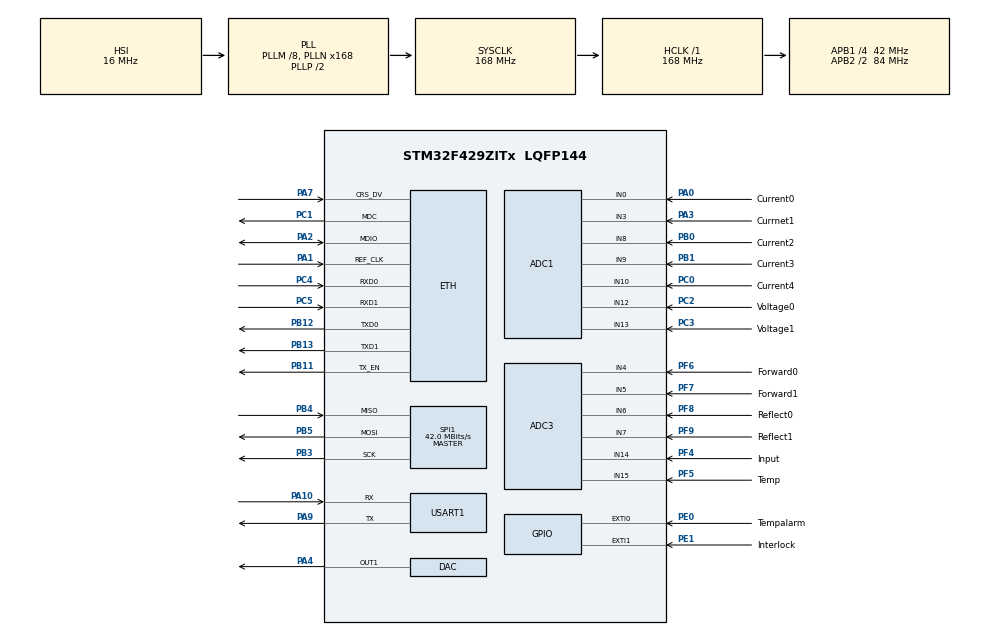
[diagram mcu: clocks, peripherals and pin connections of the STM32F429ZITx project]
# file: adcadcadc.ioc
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ADC1.Channel-0\#ChannelRegularConversion=ADC_CHANNEL_0
ADC1.Channel-1\#ChannelRegularConversion=ADC_CHANNEL_3
ADC1.Channel-2\#ChannelRegularConversion=ADC_CHANNEL_8
ADC1.Channel-3\#ChannelRegularConversion=ADC_CHANNEL_9
ADC1.Channel-4\#ChannelRegularConversion=ADC_CHANNEL_10
ADC1.Channel-5\#ChannelRegularConversion=ADC_CHANNEL_12
ADC1.Channel-9\#ChannelRegularConversion=ADC_CHANNEL_0
ADC1.ContinuousConvMode=ENABLE
ADC1.DMAContinuousRequests=ENABLE
ADC1.NbrOfConversion=7
ADC1.NbrOfConversionFlag=1
ADC1.Rank-0\#ChannelRegularConversion=1
ADC1.Rank-1\#ChannelRegularConversion=2
ADC1.Rank-2\#ChannelRegularConversion=3
ADC1.Rank-3\#ChannelRegularConversion=4
ADC1.Rank-4\#ChannelRegularConversion=5
ADC1.Rank-5\#ChannelRegularConversion=6
ADC1.Rank-9\#ChannelRegularConversion=7
ADC1.SamplingTime-0\#ChannelRegularConversion=ADC_SAMPLETIME_3CYCLES
ADC1.SamplingTime-1\#ChannelRegularConversion=ADC_SAMPLETIME_15CYCLES
ADC1.SamplingTime-2\#ChannelRegularConversion=ADC_SAMPLETIME_3CYCLES
ADC1.SamplingTime-3\#ChannelRegularConversion=ADC_SAMPLETIME_3CYCLES
ADC1.SamplingTime-4\#ChannelRegularConversion=ADC_SAMPLETIME_3CYCLES
ADC1.SamplingTime-5\#ChannelRegularConversion=ADC_SAMPLETIME_3CYCLES
ADC1.SamplingTime-9\#ChannelRegularConversion=ADC_SAMPLETIME_3CYCLES
ADC1.ScanConvMode=ENABLE
ADC1.master=1
ADC3.Channel-0\#ChannelRegularConversion=ADC_CHANNEL_4
ADC3.Channel-1\#ChannelRegularConversion=ADC_CHANNEL_5
ADC3.Channel-2\#ChannelRegularConversion=ADC_CHANNEL_6
ADC3.Channel-3\#ChannelRegularConversion=ADC_CHANNEL_7
ADC3.Channel-4\#ChannelRegularConversion=ADC_CHANNEL_14
ADC3.Channel-6\#ChannelRegularConversion=ADC_CHANNEL_15
ADC3.ContinuousConvMode=ENABLE
ADC3.DMAContinuousRequests=ENABLE
ADC3.NbrOfConversion=6
ADC3.NbrOfConversionFlag=1
ADC3.Rank-0\#ChannelRegularConversion=1
ADC3.Rank-1\#ChannelRegularConversion=2
ADC3.Rank-2\#ChannelRegularConversion=3
ADC3.Rank-3\#ChannelRegularConversion=4
ADC3.Rank-4\#ChannelRegularConversion=5
ADC3.Rank-6\#ChannelRegularConversion=6
ADC3.SamplingTime-0\#ChannelRegularConversion=ADC_SAMPLETIME_15CYCLES
ADC3.SamplingTime-1\#ChannelRegularConversion=ADC_SAMPLETIME_3CYCLES
ADC3.SamplingTime-2\#ChannelRegularConversion=ADC_SAMPLETIME_3CYCLES
ADC3.SamplingTime-3\#ChannelRegularConversion=ADC_SAMPLETIME_3CYCLES
ADC3.SamplingTime-4\#ChannelRegularConversion=ADC_SAMPLETIME_3CYCLES
ADC3.SamplingTime-6\#ChannelRegularConversion=ADC_SAMPLETIME_3CYCLES
ADC3.ScanConvMode=ENABLE
Dma.ADC1.1.Direction=DMA_PERIPH_TO_MEMORY
Dma.ADC1.1.FIFOMode=DMA_FIFOMODE_DISABLE
Dma.ADC1.1.Instance=DMA2_Stream4
Dma.ADC1.1.MemDataAlignment=DMA_MDATAALIGN_HALFWORD
Dma.ADC1.1.MemInc=DMA_MINC_ENABLE
Dma.ADC1.1.Mode=DMA_CIRCULAR
Dma.ADC1.1.PeriphDataAlignment=DMA_PDATAALIGN_HALFWORD
Dma.ADC1.1.PeriphInc=DMA_PINC_DISABLE
Dma.ADC1.1.Priority=DMA_PRIORITY_LOW
Dma.ADC3.0.Direction=DMA_PERIPH_TO_MEMORY
Dma.ADC3.0.FIFOMode=DMA_FIFOMODE_DISABLE
Dma.ADC3.0.Instance=DMA2_Stream0
Dma.ADC3.0.MemDataAlignment=DMA_MDATAALIGN_HALFWORD
Dma.ADC3.0.MemInc=DMA_MINC_ENABLE
Dma.ADC3.0.Mode=DMA_CIRCULAR
Dma.ADC3.0.PeriphDataAlignment=DMA_PDATAALIGN_HALFWORD
Dma.ADC3.0.PeriphInc=DMA_PINC_DISABLE
Dma.ADC3.0.Priority=DMA_PRIORITY_LOW
Dma.Request0=ADC3
Dma.Request1=ADC1
ETH.MediaInterface=ETH_MEDIA_INTERFACE_RMII
Mcu.Family=STM32F4
Mcu.Name=STM32F429ZITx
Mcu.Package=LQFP144
NVIC.DMA2_Stream0_IRQn=true\:0\:0\:false\:false\:true\:false\:true
NVIC.DMA2_Stream4_IRQn=true\:0\:0\:false\:false\:true\:false\:true
NVIC.EXTI0_IRQn=true\:0\:0\:false\:false\:true\:true\:true
NVIC.EXTI1_IRQn=true\:0\:0\:false\:false\:true\:true\:true
NVIC.PriorityGroup=NVIC_PRIORITYGROUP_4
NVIC.TIM2_IRQn=true\:0\:0\:false\:false\:true\:true\:true
NVIC.USART1_IRQn=true\:0\:0\:false\:false\:true\:true\:true
PA0/WKUP.GPIO_Label=Current0
PA0/WKUP.Signal=ADCx_IN0
PA1.Mode=RMII
PA1.Signal=ETH_REF_CLK
PA10.Mode=Asynchronous
PA10.Signal=USART1_RX
PA2.Mode=RMII
PA2.Signal=ETH_MDIO
PA3.GPIO_Label=Currnet1
PA3.Signal=ADCx_IN3
PA4.Signal=COMP_DAC1_group
PA7.Mode=RMII
PA7.Signal=ETH_CRS_DV
PA9.Mode=Asynchronous
PA9.Signal=USART1_TX
PB0.GPIO_Label=Current2
PB0.Signal=ADCx_IN8
PB1.GPIO_Label=Current3
PB1.Signal=ADCx_IN9
PB11.Mode=RMII
PB11.Signal=ETH_TX_EN
PB12.Mode=RMII
PB12.Signal=ETH_TXD0
PB13.Mode=RMII
PB13.Signal=ETH_TXD1
PB3.Mode=Full_Duplex_Master
PB3.Signal=SPI1_SCK
PB4.Mode=Full_Duplex_Master
PB4.Signal=SPI1_MISO
PB5.Mode=Full_Duplex_Master
PB5.Signal=SPI1_MOSI
PC0.GPIO_Label=Current4
PC0.Signal=ADCx_IN10
PC1.Mode=RMII
PC1.Signal=ETH_MDC
PC2.GPIO_Label=Voltage0
PC2.Signal=ADCx_IN12
PC3.GPIO_Label=Voltage1
PC3.Signal=ADCx_IN13
PC4.Mode=RMII
PC4.Signal=ETH_RXD0
PC5.Mode=RMII
PC5.Signal=ETH_RXD1
PE0.GPIO_Label=Tempalarm
PE0.GPIO_ModeDefaultEXTI=GPIO_MODE_IT_RISING_FALLING
PE0.GPIO_PuPd=GPIO_NOPULL
PE0.Signal=GPXTI0
PE1.GPIO_Label=Interlock
PE1.GPIO_ModeDefaultEXTI=GPIO_MODE_IT_FALLING
PE1.Signal=GPXTI1
PF4.GPIO_Label=Input
PF4.Mode=IN14
PF4.Signal=ADC3_IN14
PF5.GPIO_Label=Temp
PF5.Mode=IN15
PF5.Signal=ADC3_IN15
PF6.GPIO_Label=Forward0
PF6.Mode=IN4
PF6.Signal=ADC3_IN4
PF7.GPIO_Label=Forward1
PF7.Mode=IN5
PF7.Signal=ADC3_IN5
PF8.GPIO_Label=Reflect0
PF8.Mode=IN6
PF8.Signal=ADC3_IN6
PF9.GPIO_Label=Reflect1
PF9.Mode=IN7
PF9.Signal=ADC3_IN7
PH0/OSC_IN.Mode=HSE-External-Oscillator
PH0/OSC_IN.Signal=RCC_OSC_IN
PH1/OSC_OUT.Mode=HSE-External-Oscillator
PH1/OSC_OUT.Signal=RCC_OSC_OUT
ProjectManager.HeapSize=0x200
ProjectManager.StackSize=0x400
ProjectManager.TargetToolchain=STM32CubeIDE
RCC.48MHZClocksFreq_Value=84000000
RCC.AHBFreq_Value=168000000
RCC.APB1CLKDivider=RCC_HCLK_DIV4
RCC.APB1Freq_Value=42000000
RCC.APB1TimFreq_Value=84000000
RCC.APB2CLKDivider=RCC_HCLK_DIV2
RCC.APB2Freq_Value=84000000
RCC.APB2TimFreq_Value=168000000
RCC.CortexFreq_Value=168000000
RCC.HCLKFreq_Value=168000000
RCC.HSE_VALUE=8000000
RCC.HSI_VALUE=16000000
RCC.LSE_VALUE=32768
RCC.PLLM=8
RCC.PLLN=168
RCC.SYSCLKFreq_VALUE=168000000
RCC.SYSCLKSource=RCC_SYSCLKSOURCE_PLLCLK
RCC.VCOOutputFreq_Value=336000000
SH.ADCx_IN0.0=ADC1_IN0,IN0
SH.ADCx_IN10.0=ADC1_IN10,IN10
SH.ADCx_IN12.0=ADC1_IN12,IN12
SH.ADCx_IN13.0=ADC1_IN13,IN13
SH.ADCx_IN3.0=ADC1_IN3,IN3
SH.ADCx_IN8.0=ADC1_IN8,IN8
SH.ADCx_IN9.0=ADC1_IN9,IN9
SH.COMP_DAC1_group.0=DAC_OUT1,DAC_OUT1
SPI1.CalculateBaudRate=42.0 MBits/s
SPI1.Direction=SPI_DIRECTION_2LINES
SPI1.Mode=SPI_MODE_MASTER
SPI1.VirtualType=VM_MASTER
TIM13.Prescaler=8399
TIM2.Period=9999
TIM2.Prescaler=8399
TIM7.AutoReloadPreload=TIM_AUTORELOAD_PRELOAD_ENABLE
TIM7.Period=10000-1
TIM7.Prescaler=8400-1
USART1.VirtualMode=VM_ASYNC
VP_TIM13_VS_ClockSourceINT.Mode=Enable_Timer
VP_TIM2_VS_ClockSourceINT.Mode=Internal
VP_TIM7_VS_ClockSourceINT.Mode=Enable_Timer
board=custom

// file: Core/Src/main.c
/* USER CODE BEGIN Header */
/**
  ******************************************************************************
  * @file           : main.c
  * @brief          : Main program body
  ******************************************************************************
  * @attention
  *
  * <h2><center>&copy; Copyright (c) 2019 STMicroelectronics.
  * All rights reserved.</center></h2>
  *
  * This software component is licensed by ST under BSD 3-Clause license,
  * the "License"; You may not use this file except in compliance with the
  * License. You may obtain a copy of the License at:
  *                        opensource.org/licenses/BSD-3-Clause
  *
  ******************************************************************************
  */
/* USER CODE END Header */

#include "main.h"
#include "adc.h"
#include "dac.h"
#include "dma.h"
#include "eth.h"
#include "spi.h"
#include "tim.h"
#include "usart.h"
#include "gpio.h"
#include "commandexecute.h"

/* USER CODE BEGIN PTD */

/* status 및 int 자료형 변수 리스트 */
#define COMBUFFER 24

#define VARLIST 2

#define TEMPALARM 0
#define INTERLOCK 1

/*  */
#define ADC1_CURRENT0  0
#define ADC1_CURRENT1  1
#define ADC1_CURRENT2  2
#define ADC1_CURRENT3  3
#define ADC1_CURRENT4  4
#define ADC1_VOLTAGE0  5
#define ADC1_VOLTAGE1  6

/*  */
#define ADC3_INPUT	   0
#define ADC3_TEMP	   1
#define ADC3_FORWARD0  2
#define ADC3_FORWARD1  3
#define ADC3_REFLECT0  4
#define ADC3_REFLECT1  5

/* USER CODE END PTD */

/* USER CODE BEGIN PV */

/* status 및 int 자료형 변수 리스트 */
uint16_t variable[VARLIST];
uint16_t exti;

uint16_t modecommand = 0;
uint8_t rxdata[SJKIM_SIZE];
uint16_t front = 0;

uint8_t noexist[] = "Not match command in commandlist\r\n";
uint8_t txbuffer[] = "'command mode on' \r\n'This message is comming from board'\r\n";
uint8_t backspace[] = "\b";
uint8_t blank[] = " ";
uint8_t enter[] = "\r\n";
uint8_t rxvaldata[COMBUFFER];
uint8_t* commandbuffer[COMBUFFER];
uint16_t commandbufferstack;
uint16_t englishinputerror;

uint16_t adc1[ADC1NUM];
uint16_t adc3[ADC3NUM];

uint16_t timer2, timer13;
uint16_t buffertimer2;
/* USER CODE END PV */

void SystemClock_Config(void);

int main(void)
{

  /* MCU Configuration--------------------------------------------------------*/

  /* Reset of all peripherals, Initializes the Flash interface and the Systick. */
  HAL_Init();

  /* Configure the system clock */
  SystemClock_Config();

  /* Initialize all configured peripherals */
  MX_GPIO_Init();
  MX_DMA_Init();
  MX_ADC1_Init();
  MX_ETH_Init();
  MX_TIM2_Init();
  MX_USART1_UART_Init();
  MX_ADC3_Init();
  MX_DAC_Init();
  MX_SPI1_Init();
  MX_TIM7_Init();
  MX_TIM13_Init();
  /* USER CODE BEGIN 2 */
  HAL_TIM_Base_Start_IT(&htim2);
  HAL_TIM_Base_Start_IT(&htim13);
  HAL_ADC_Start_DMA(&hadc1, adc1, 7);
  HAL_ADC_Start_DMA(&hadc3, adc3, 6);
  HAL_UART_Receive_IT(&huart1, &rxdata[front], 1);

  /* USER CODE END 2 */

  /* Infinite loop */
  while (1)
  {

  }
}

void SystemClock_Config(void)
{
  RCC_OscInitTypeDef RCC_OscInitStruct = {0};
  RCC_ClkInitTypeDef RCC_ClkInitStruct = {0};

  /** Configure the main internal regulator output voltage
  */
  __HAL_RCC_PWR_CLK_ENABLE();
  __HAL_PWR_VOLTAGESCALING_CONFIG(PWR_REGULATOR_VOLTAGE_SCALE1);
  /** Initializes the CPU, AHB and APB busses clocks
  */
  RCC_OscInitStruct.OscillatorType = RCC_OSCILLATORTYPE_HSI;
  RCC_OscInitStruct.HSIState = RCC_HSI_ON;
  RCC_OscInitStruct.HSICalibrationValue = RCC_HSICALIBRATION_DEFAULT;
  RCC_OscInitStruct.PLL.PLLState = RCC_PLL_ON;
  RCC_OscInitStruct.PLL.PLLSource = RCC_PLLSOURCE_HSI;
  RCC_OscInitStruct.PLL.PLLM = 8;
  RCC_OscInitStruct.PLL.PLLN = 168;
  RCC_OscInitStruct.PLL.PLLP = RCC_PLLP_DIV2;
  RCC_OscInitStruct.PLL.PLLQ = 4;
  if (HAL_RCC_OscConfig(&RCC_OscInitStruct) != HAL_OK)
  {
    Error_Handler();
  }
  /** Initializes the CPU, AHB and APB busses clocks
  */
  RCC_ClkInitStruct.ClockType = RCC_CLOCKTYPE_HCLK|RCC_CLOCKTYPE_SYSCLK
                              |RCC_CLOCKTYPE_PCLK1|RCC_CLOCKTYPE_PCLK2;
  RCC_ClkInitStruct.SYSCLKSource = RCC_SYSCLKSOURCE_PLLCLK;
  RCC_ClkInitStruct.AHBCLKDivider = RCC_SYSCLK_DIV1;
  RCC_ClkInitStruct.APB1CLKDivider = RCC_HCLK_DIV4;
  RCC_ClkInitStruct.APB2CLKDivider = RCC_HCLK_DIV2;

  if (HAL_RCC_ClockConfig(&RCC_ClkInitStruct, FLASH_LATENCY_5) != HAL_OK)
  {
    Error_Handler();
  }
}

/* USER CODE BEGIN 4 */
void HAL_TIM_PeriodElapsedCallback(TIM_HandleTypeDef *htim)
{
	if(htim->Instance == htim13.Instance)
	    {
			timer13++;
			int blankwhere = 0;
			uint16_t length = strlen((const char*)rxdata);
			uint16_t blankexistpara = 0;
			/*
			 * search blank
			 * */
			for(int i = 0; i < length; i++)
			{
				if(rxdata[i] == ' ')
				{
					blankexistpara = 1;
					blankwhere = i;
					i = length;
				}
			}
			/* check and transfer command */
			if(blankexistpara == 1)
			{
				blankexistpara = 0;
				rxdata[blankwhere] = '\0';
				for(int i = blankwhere; i < length; i++)
				{
					rxvaldata[i - blankwhere] = rxdata[i + 1];
					rxdata[i + 1] = '\0';
				}
				comandexecute(rxdata, rxvaldata);
			}
			/* ? command transfer */
			else if(rxdata[length - 1] == '?')
			{
				rxdata[length - 1] = '\0';
				commandstate(rxdata);
			}
			modecommand = 0;
			HAL_TIM_Base_Stop_IT(&htim13);
	    }
}

void HAL_GPIO_EXTI_Callback(uint16_t GPIO_Pin)
{
	exti++;

	switch(GPIO_Pin)
	{
		case Tempalarm_Pin:
		{
			if(HAL_GPIO_ReadPin(GPIOE, GPIO_Pin) == GPIO_PIN_SET)
			{
				variable[TEMPALARM] = 1;
//				if(buffertimer2[exti] == buffertimer2[exti - 1])
//				{
//					buffertimer2[exti] = timer2;
//					exti++;
//					variable[TEMPALARM] = 1;
//				}
			}
			else
			{
				variable[TEMPALARM] = 0;
			}
			break;
		}
		case Interlock_Pin:
		{
			if(HAL_GPIO_ReadPin(GPIOE, GPIO_Pin))
			{
				variable[INTERLOCK] = 1;
			}
			else
			{
				variable[INTERLOCK] = 0;
			}
			break;
		}
		default:
		{
			break;
		}
	}
}

void HAL_UART_RxCpltCallback(UART_HandleTypeDef *huart)
{
	if(huart->Instance == huart1.Instance)
	{
		switch(rxdata[front])
		{
			/* 엔터 */
			case '\r':
				HAL_UART_Transmit(&huart1, enter, sizeof(enter), 0xFFFF);
				if(modecommand != 0)
				{
					rxdata[front] = '\0';
					HAL_TIM_Base_Start_IT(&htim13);
				}
				front = ((front + 1) % (SJKIM_SIZE-1));
				HAL_UART_Receive_IT(&huart1, &rxdata[front], 1);
				break;
			/* 입력모드 :입력시 modecommand->1 */
			case ':':
				if(modecommand == 0)
				{
					front = 0;
					modecommand = 1;
					for(int i = 0; i < sizeof(rxdata); i++)
					{
						rxdata[i] = '\0';
						rxvaldata[i] = '\0';
					}
					HAL_UART_Transmit(&huart1, enter, sizeof(enter), 0xFFFF);
					HAL_UART_Transmit(&huart1, txbuffer, sizeof(txbuffer), 0xFFFF);
					HAL_UART_Receive_IT(&huart1, &rxdata[front], 1);
				}
			/* 이미 modecommand = 1인 상황에서 :입력을 받았을 때 처리해주기 위한 코드 */
				else {
					HAL_UART_Transmit(&huart1, &rxdata[front], 1, 0xFFFF);
					front = ((front + 1) % (SJKIM_SIZE-1));
					HAL_UART_Receive_IT(&huart1, &rxdata[front], 1);
				}
				break;
			/* 백 스페이스 */
			case '\177':
				rxdata[front] = '\0';
				if(front != 0) {
					front = ((front - 1) % (SJKIM_SIZE-1));
				}
				else if(front == 0){
					front= SJKIM_SIZE-1;
				}
				HAL_UART_Transmit(&huart1, backspace, 1, 0xFFFF);
				HAL_UART_Transmit(&huart1, blank, 1, 0xFFFF);
				HAL_UART_Transmit(&huart1, backspace, 1, 0xFFFF);
				HAL_UART_Receive_IT(&huart1, &rxdata[front], 1);
				break;
			default:
				HAL_UART_Transmit(&huart1, &rxdata[front], 1, 0xFFFF);
				/* modecommand on일시 처리 */
				front = ((front + 1) % (SJKIM_SIZE-1));
				HAL_UART_Receive_IT(&huart1, &rxdata[front], 1);
			break;
		}
	}
}
/* USER CODE END 4 */

void Error_Handler(void)
{
}

/************************ (C) COPYRIGHT STMicroelectronics *****END OF FILE****/
